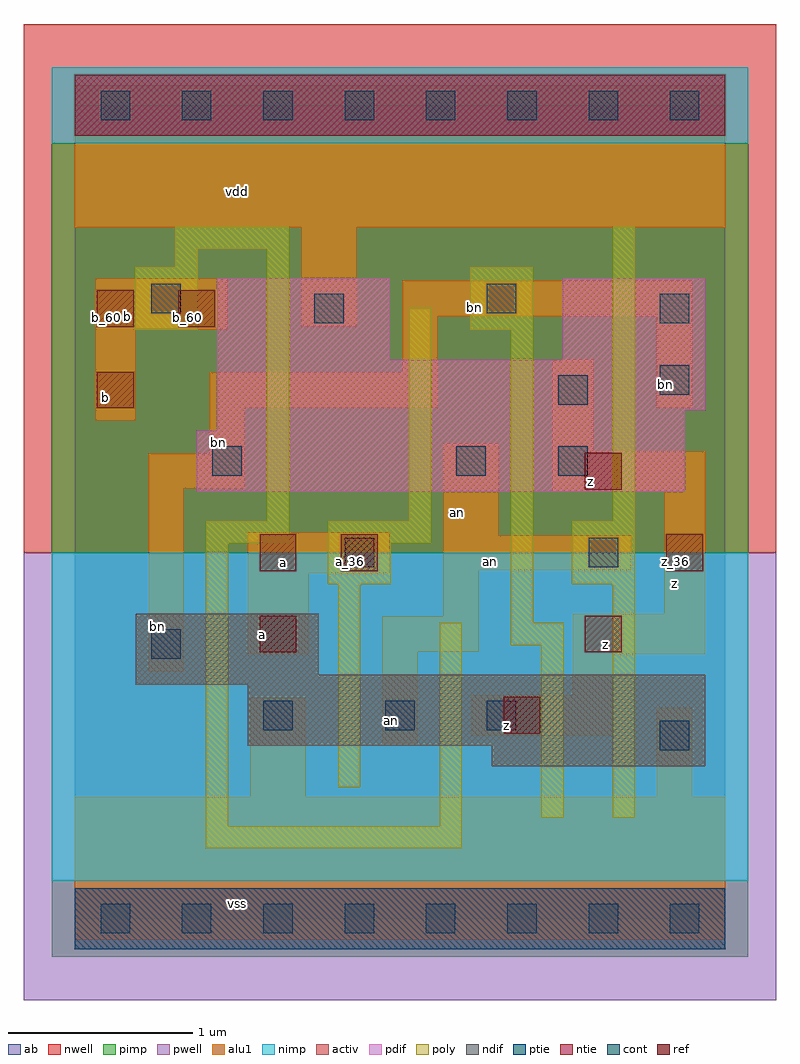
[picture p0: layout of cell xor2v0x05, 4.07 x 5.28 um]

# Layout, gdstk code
import gdstk
lib = gdstk.Library(unit=1e-6, precision=2.5e-09)
def R(c, l, rs):  # rectangles x0, y0, x1, y1
    for r in rs: c.add(gdstk.rectangle(r[:2], r[2:], *l))
def A(c, l, x, y, w, h, nx, ny, dx, dy):  # array of equal rectangles
    R(c, l, [(x+i*dx, y+j*dy, x+i*dx+w, y+j*dy+h) for i in range(nx) for j in range(ny)])
ndif = (3, 0)
pdif = (4, 0)
ntie = (5, 0)
ptie = (6, 0)
ref = (24, 0)
cont = (25, 0)
pwell = (41, 0)
nwell = (42, 0)
activ = (43, 0)
pimp = (44, 0)
nimp = (45, 0)
poly = (46, 0)
alu1 = (49, 0)
ab = (63, 0)

xor2v0x05 = lib.new_cell('xor2v0x05')
R(xor2v0x05, ndif, [(2.255,0.825,3.41,0.935), (0.935,0.935,3.41,1.265), (0.33,1.265,3.41,1.32), (0.33,1.32,1.32,1.65)])
R(xor2v0x05, pdif, [(0.66,2.31,3.3,2.64), (0.77,2.64,3.3,2.75), (0.77,2.75,3.41,3.025), (0.77,3.025,1.705,3.465), (2.64,3.025,3.41,3.465)])
R(xor2v0x05, ntie, [(0,4.235,3.52,4.565)])
R(xor2v0x05, ptie, [(0,-0.165,3.52,0.165)])
R(xor2v0x05, ref, [(2.32,1,2.52,1.2), (1,1.44,1.2,1.64), (2.76,1.44,2.96,1.64), (1,1.88,1.2,2.08), (1.44,1.88,1.64,2.08), (3.2,1.88,3.4,2.08), (2.76,2.32,2.96,2.52), (0.12,2.76,0.32,2.96), (0.12,3.2,0.32,3.4), (0.56,3.2,0.76,3.4)])
A(xor2v0x05, cont, 0.14, -0.08, 0.16, 0.16, 8, 2, 0.44, 4.4)
R(xor2v0x05, cont, [(3.165,0.91,3.325,1.07), (1.02,1.02,1.18,1.18), (1.68,1.02,1.84,1.18), (2.23,1.02,2.39,1.18), (0.415,1.405,0.575,1.565), (1.46,1.9,1.62,2.06), (2.78,1.9,2.94,2.06), (0.745,2.395,0.905,2.555), (2.065,2.395,2.225,2.555), (2.615,2.395,2.775,2.555), (2.615,2.78,2.775,2.94), (3.165,2.835,3.325,2.995), (1.295,3.22,1.455,3.38), (3.165,3.22,3.325,3.38), (0.415,3.275,0.575,3.435), (2.23,3.275,2.39,3.435)])
R(xor2v0x05, pwell, [(-0.275,-0.44,3.795,1.98)])
R(xor2v0x05, nwell, [(-0.275,1.98,3.795,4.84)])
R(xor2v0x05, activ, [(0,-0.165,3.52,0.165), (2.255,0.825,3.41,0.935), (0.935,0.935,3.41,1.265), (0.33,1.265,3.41,1.32), (0.33,1.32,1.32,1.65), (0.66,2.31,3.3,2.64), (0.77,2.64,3.3,2.75), (0.77,2.75,3.41,3.025), (0.77,3.025,1.705,3.465), (2.64,3.025,3.41,3.465), (0,4.235,3.52,4.565)])
R(xor2v0x05, pimp, [(-0.125,-0.205,3.645,0.205), (-0.125,1.98,3.645,4.195)])
R(xor2v0x05, nimp, [(-0.125,0.205,3.645,1.98), (-0.125,4.195,3.645,4.605)])
R(xor2v0x05, poly, [(0.71,0.38,2.095,0.5), (0.71,0.5,0.83,2.03), (1.975,0.5,2.095,1.6), (2.525,0.545,2.645,1.48), (2.91,0.545,3.03,1.81), (1.425,0.71,1.545,1.81), (2.36,1.48,2.645,1.6), (2.36,1.6,2.48,3.185), (1.37,1.81,1.71,2.03), (2.69,1.81,3.03,2.15), (0.71,2.03,1.16,2.15), (1.37,2.03,1.93,2.15), (1.04,2.15,1.16,3.625), (1.81,2.15,1.93,3.305), (2.91,2.15,3.03,3.745), (0.325,3.185,0.665,3.525), (2.14,3.185,2.48,3.525), (0.545,3.525,0.665,3.625), (0.545,3.625,1.16,3.745)])
R(xor2v0x05, alu1, [(0,-0.11,3.52,0.66), (0.95,0.66,1.25,1.195), (3.15,0.66,3.34,1.14), (1.665,0.95,1.855,1.445), (2.145,0.99,2.915,1.21), (2.695,1.21,2.915,1.43), (0.4,1.335,0.59,2.325), (0.935,1.43,1.265,1.87), (2.695,1.43,3.41,1.65), (1.665,1.445,2.185,1.635), (1.995,1.635,2.185,1.885), (3.19,1.65,3.41,2.31), (0.935,1.87,1.705,2.09), (1.995,1.885,3.01,2.075), (1.995,2.075,2.295,2.57), (2.585,2.31,3.41,2.53), (0.4,2.325,0.92,2.515), (0.73,2.515,0.92,2.765), (2.585,2.53,2.805,3.025), (0.11,2.695,0.33,3.19), (0.73,2.765,1.965,2.955), (3.15,2.765,3.34,3.26), (1.775,2.955,1.965,3.26), (0.11,3.19,0.825,3.465), (1.225,3.205,1.525,3.74), (1.775,3.26,3.34,3.45), (0,3.74,3.52,4.51)])
R(xor2v0x05, ab, [(0,0,3.52,4.4)])
xor2v0x05.add(gdstk.Label('vss', (0.88,0.0825), layer=49, texttype=0))
xor2v0x05.add(gdstk.Label('z', (2.3375,1.045), layer=49, texttype=0))
xor2v0x05.add(gdstk.Label('z', (2.8725,1.485), layer=49, texttype=0))
xor2v0x05.add(gdstk.Label('an', (1.7125,1.0725), layer=49, texttype=0))
xor2v0x05.add(gdstk.Label('z', (3.245,1.815), layer=49, texttype=0))
xor2v0x05.add(gdstk.Label('a', (1.0175,1.54), layer=49, texttype=0))
xor2v0x05.add(gdstk.Label('an', (2.2475,1.9325), layer=49, texttype=0))
xor2v0x05.add(gdstk.Label('z', (2.79,2.365), layer=49, texttype=0))
xor2v0x05.add(gdstk.Label('bn', (3.1975,2.8875), layer=49, texttype=0))
xor2v0x05.add(gdstk.Label('an', (2.07,2.1975), layer=49, texttype=0))
xor2v0x05.add(gdstk.Label('a', (1.1275,1.925), layer=49, texttype=0))
xor2v0x05.add(gdstk.Label('bn', (0.4475,1.5825), layer=49, texttype=0))
xor2v0x05.add(gdstk.Label('bn', (0.7775,2.5775), layer=49, texttype=0))
xor2v0x05.add(gdstk.Label('b', (0.165,2.8175), layer=49, texttype=0))
xor2v0x05.add(gdstk.Label('bn', (2.165,3.3075), layer=49, texttype=0))
xor2v0x05.add(gdstk.Label('b', (0.2875,3.2575), layer=49, texttype=0))
xor2v0x05.add(gdstk.Label('vdd', (0.88,3.9325), layer=49, texttype=0))
xor2v0x05.add(gdstk.Label('z_44', (2.81,2.37), layer=24, texttype=0))
xor2v0x05.add(gdstk.Label('z_28', (2.81,1.49), layer=24, texttype=0))
xor2v0x05.add(gdstk.Label('z_36', (3.25,1.93), layer=24, texttype=0))
xor2v0x05.add(gdstk.Label('b_60', (0.61,3.25), layer=24, texttype=0))
xor2v0x05.add(gdstk.Label('a_28', (1.05,1.49), layer=24, texttype=0))
xor2v0x05.add(gdstk.Label('a_36', (1.05,1.93), layer=24, texttype=0))
xor2v0x05.add(gdstk.Label('b_52', (0.17,2.81), layer=24, texttype=0))
xor2v0x05.add(gdstk.Label('b_60', (0.17,3.25), layer=24, texttype=0))
xor2v0x05.add(gdstk.Label('z_20', (2.37,1.05), layer=24, texttype=0))
xor2v0x05.add(gdstk.Label('a_36', (1.49,1.93), layer=24, texttype=0))

lib.write_gds('xor2v0x05.gds')
